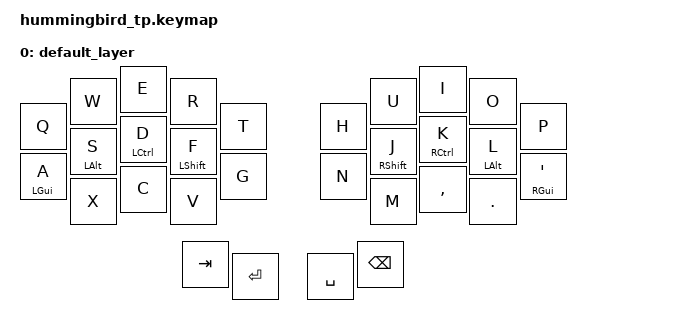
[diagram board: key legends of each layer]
/*
 * Copyright (c) 2022 The ZMK Contributors
 *
 * SPDX-License-Identifier: MIT
 */

#include <behaviors.dtsi>
#include <dt-bindings/zmk/keys.h>
#include <dt-bindings/zmk/bt.h>

#define DEF_L 0
#define NAV_L 1
#define NUM_L 2
#define SYM_L 3

/*
 * Defines to enable/disable features
 *
 * These defines allow us to conditionally enable and disable parts of the keymap config.
 *
 * For example, if we decide to build the firmware without the mouse features, we can
 * disable all the config options that rely on those forks and modules without having
 * to edit the entire keymap file manually every time.
 */

#define HAS_MOUSE_KEYS
#define HAS_MOUSE_TP

#ifdef HAS_MOUSE_KEYS
  #include <dt-bindings/zmk/mouse.h>
  #include <behaviors/mouse_keys.dtsi>
#endif  // HAS_MOUSE_KEYS

#ifdef HAS_MOUSE_TP
  // We store the trackpoint settings in a separate file
  // to make organization a little easier.
  #include "include/mouse_tp.dtsi"
#endif  // HAS_MOUSE_TP



// Using layer taps on thumbs, having quick tap as well helps w/ repeating space/backspace
&lt { quick-tap-ms = <200>; };

/ {
    behaviors {
        hm: homerow_mods {
            compatible = "zmk,behavior-hold-tap";
            #binding-cells = <2>;
            tapping-term-ms = <225>;
            flavor = "tap-preferred";
            bindings = <&kp>, <&kp>;
        };
    };

    combos {
        compatible = "zmk,combos";
        combo_z {
            timeout-ms = <50>;
            key-positions = <20 21>;
            bindings = <&kp Z>;
        };
        combo_b {
            timeout-ms = <50>;
            key-positions = <21 22>;
            bindings = <&kp B>;
        };

        combo_y {
            timeout-ms = <50>;
            key-positions = <23 24>;
            bindings = <&kp Y>;
        };

        combo_slash {
            timeout-ms = <50>;
            key-positions = <24 25>;
            bindings = <&kp SLASH>;
        };
    };

    keymap {
        compatible = "zmk,keymap";

        default_layer {
            bindings = <
                &kp Q      &kp W      &kp E       &kp R           &kp T        &kp H            &kp U          &kp I       &kp O      &kp P
                &hm LGUI A &hm LALT S &hm LCTRL D &hm LSHFT F     &kp G        &kp N            &hm RSHFT J    &hm RCTRL K &hm LALT L &hm RGUI SQT
                           &kp X      &kp C       &kp V                                         &kp M          &kp COMMA  &kp DOT
                                                  &kp TAB       &kp RET       &kp SPACE        &kp BSPC
            >;
        };
    };
};



/*
 * PS/2 Mouse / Trackpoint - User Configuration
 *
 * Enable PS/2 drivers on this side of the keyboard.
 * It MUST be the central half. If you connected your TP or mouse to the
 * left side, then move the following content to `your_keyboard_left.overlay`
 *
 * You also need to adjust `Kconfig.defconfig` and configure that this side
 * is the central side.
 *
 */


// Pick the PS/2 driver
//
// Comment out the following define to use the PS/2 GPIO driver instead of the
// UART driver.
//
// Both, the UART and GPIO drivers, implement the PS/2 protocol and work with
// trackpoints and other mouse devices that use PS/2.
//
// The only difference is which hardware they use on your controller to
// transmit the data. The UART driver has MUCH better performance and should
// be used by most people.
//
// The GPIO driver should only be used if your PS/2 pointing device uses a
// clock frequency rate that is not compatible with the UART baud rates. Or
// if you are NOT using a nrf52-based controller, such as the nice!nano,
// nice!nano clone or a seeduino xiao.
//
// In all other cases you should try using the UART driver first.
#define MOUSE_PS2_DRIVER_UART


// Configure the SCL and SDA pins using the`&pro_micro` notation.
//
// If possible, try to choose the blue high frequency pins to avoid
// bluetooth interference.
//
// It will still work even if you pick low frequency pins, but there is a risk
// that the trackpoint could cause bluetooth interference.
//
// On the nice!nano documentation these are green DX pins:
// https://nicekeyboards.com/docs/nice-nano/pinout-schematic
//
// The ideal pins are...
//   - D1 and D0 for clock and data, because they are high frequency.
//   - D8, D9, D16 or D10 for the trackpoint reset pin, because it doesn't
//     need to be high frequency (only needed if you are not using a reset
//     circuit)
//
// But on the corne keyboard, these pins are used for the backlight. So, this
// example config uses the pins D16 and D10 for clock and data and
// D9 for the reset circuit.
// #define MOUSE_PS2_PIN_SCL_PRO_MICRO <&pro_micro 16 GPIO_ACTIVE_HIGH>
#define MOUSE_PS2_PIN_SCL_PRO_MICRO <&xiao_d 5 GPIO_ACTIVE_HIGH>
#define MOUSE_PS2_PIN_SDA_PRO_MICRO <&xiao_d 4 GPIO_ACTIVE_HIGH>

// #define MOUSE_PS2_PIN_SDA_PRO_MICRO <&pro_micro 10 GPIO_ACTIVE_HIGH>


// Configure the Power-On-Reset pin
//
// Uncomment and configure this pin if you have an extra free pin and want the
// controller to perform the Power-On-Reset sequence, which many trackpoints
// require.
//
// You don't need this if you are not using a trackpoint or if you have a
// trackpoint reset circuit.
//
// It's ok to use a low-frequency pin for this.
// #define MOUSE_PS2_PIN_RST_PRO_MICRO <&pro_micro 9 GPIO_ACTIVE_HIGH>


// Configure SDA pin using the pinctrl notation
//
// Now configure SDA pin using the pinctrl notation. Make sure to use the same
// pin as in the pro micro notation, but convert it to the pinctrl notation.
//
// For the nice!nano you can find it on their pinout schematic, next to the
// pins, in the blue or violet boxes, with a format like `PX.YY` (P0.09).
//
// Enter it like `X, Y` without leading zeroes.
//
// Examples:
//      D1  - P0.06: 0, 6
// 		D0  - P0.08: 0, 8
//		D15 - P1.13: 1, 13
//		D16 - P0.10: 0, 10
//		D10 - P0.09: 0, 9
//
// We don't define the SCL pin, because UART uses a baud rate instead of
// a clock pin.
#define MOUSE_PS2_PIN_SDA_PINCTRL <NRF_PSEL(UART_RX, 0, 4)>

// Configure UART BAUD Rate
//
// TLDR WARNING:
// Most likely you won't need to adjust this. So leave it at the default value
// of 14,400 and test if your mouse or trackpoint works.
//
// If it doesn't work, try using the GPIO version of the driver. If it works
// with the GPIO driver, then try using the UART driver with the BAUD rates
// 19,200 and 9,600.
//
// So far, all the trackpoints, which the community tested, worked with the
// 14,400 rate.
//
// Explanation what this is:
//
// PS/2 uses a clock pin to syncronize data transmissions. UART on the
// other hand uses a pre-defined frequency (baud rate).
//
// Fortunately, one of the available baud rates is very close to the
// frequency used in IBM/Lenovo trackpoints.
//
// You can find other configurable baud rates here:
// https://docs.zephyrproject.org/latest/build/dts/api/bindings/serial/nordic,nrf-uarte.html
//
// You can also measure the frequency of your mouse/TP using a $5 logic
// analyzer from AliExpress.
//
// Actual frequency of PS/2 trackpoint: 67us
// Corresponding baud rate: 14,925
//
// Closest available baud rate in zephyr: 14,400
// Corresponding cycle length: 69.44 microseconds
//
// Calculations:
//
// Convert cycle length in microseconds into baud:
// 1 / PS2_CYCLE_LENGTH * 1000000 =  BAUD
// 1 / 67 * 1000000 = 14,925 BAUD
//
// Convert baud into cycle length:
// 1 / BAUD * 1000000 = CYCLE_LEN (in microseconds)
// 1 / 14400 * 1000000 = 69.44
//
// Most likely values
//
// The PS/2 protocol specifies that devices must use a clock line
// frequency in the range of 10 - 16.7 kHz.
//
// Most trackpoints seem to operate at around 14-15kHz.
//
// Therefore, the most likely values to try are:
//   - 14400 ( 69 us cycle length   /   14.5kHz)
//   -  9600 (100 us cycle length   /   10.0kHz)
//   - 19200 ( 52 us cycle length   /   19kHz)
#define MOUSE_PS2_UART_BAUD_RATE <14400>


/*
 * PS/2 Mouse / Trackpoint - User Configuration if NOT using nice!nano
 *
 * WARNING: Do NOT change this if you are using a nice!nano v2 or clone.
 */

// Unexposed UART pins
// In UART two different pins are used for receiving and transmitting, but PS/2
// uses the same pin for both.
//
// The UART config still requires both pins to be configured. So we use one of
// the nrf52 pins that are not exposed on the nice!nano board.
//
// Do NOT change these if you are using a nice!nano (or a clone of it)
#define MOUSE_PS2_PIN_UNEXPOSED_TX <NRF_PSEL(UART_TX, 0, 27)>
#define MOUSE_PS2_PIN_UNEXPOSED_RX <NRF_PSEL(UART_RX, 0, 28)>


// Adjust GPIO interrupt priority to the highest level.
//
// IMPORTANT TLDR:
// If you are using the nice_nano_v2 board, you don't need to make changes to
// the config below and can leave it as it is.
//
// Explanation of these settings:
//
// PS/2 events must be processed within 30-50us, but frequently bluetooth and
// other interrupts take longer to finish.
//
// Therefore we change the default GPIO priority to the highest level (0) and
// demote all BT interrupt priorities by one level using the kconfig settings:
// - CONFIG_BT_CTLR_LLL_PRIO 1
// - CONFIG_BT_CTLR_ULL_HIGH_PRIO 2
// - CONFIG_BT_CTLR_ULL_LOW_PRIOCONFIG 2
//
// These config options are enabled automatically by the PS2 UART and GPIO
// drivers... so you don't have to enable them manually.
//
// Then we lower the interrupt priority of all other devices by 2 levels using
// the devicetree config below.
//
// This allows the PS/2 interrupts to be triggered faster and reduces
// transmission errors.
//
// If you are using the nice_nano_v2 board, you can reuse my config below.
//
// Otherwise, you can generate the interrupt overrides using this script:
// https://github.com/infused-kim/kb_zmk_ps2_mouse_trackpoint_driver/blob/main/scripts/gen_interrupt_priority_overrides.py
//
// Make sure to do it on a zephyr.dts where the interrupts have not been
// adjusted yet (i.e. a config that doesn't have the the following options
// enabled).
//
// If you are building using a toolchain you can find the zephyr.dts in the
// build directory, which by default is: `app/build/zephyr/zephyr.dts`
//
// If you are building using the github actions, copy the output of the build
// step `xxxx_right - nice_nano_v2 Devicetree file` into a file and run the
// script on it.

// gpiote should have the highest interrupt priority (0)
&gpiote {
    interrupts = < 6 0 >;
};

// All other priorities should be two levels lower than their defaults
// (which is usually 1 and should be demoted to 3)


&gpiote {
    interrupts = < 6 0 >;
};
    
&clock {
    interrupts = < 0 3 >;
};
    
&power {
    interrupts = < 0 3 >;
};
    
&radio {
    interrupts = < 1 3 >;
};
    
&uart0 {
    interrupts = < 2 3 >;
};
    
&i2c0 {
    interrupts = < 3 3 >;
};
    
&spi0 {
    interrupts = < 3 3 >;
};
    
&i2c1 {
    interrupts = < 4 3 >;
};
    
&spi1 {
    interrupts = < 4 3 >;
};
    
&nfct {
    interrupts = < 5 3 >;
};
    
&adc {
    interrupts = < 7 3 >;
};
    
&timer0 {
    interrupts = < 8 3 >;
};
    
&timer1 {
    interrupts = < 9 3 >;
};
    
&timer2 {
    interrupts = < 10 3 >;
};
    
&rtc0 {
    interrupts = < 11 3 >;
};
    
&temp {
    interrupts = < 12 3 >;
};
    
&rng {
    interrupts = < 13 3 >;
};
    
&ecb {
    interrupts = < 14 3 >;
};
    
&ccm {
    interrupts = < 15 3 >;
};
    
&wdt {
    interrupts = < 16 3 >;
};
    
&rtc1 {
    interrupts = < 17 3 >;
};
    
&qdec {
    interrupts = < 18 3 >;
};
    
&comp {
    interrupts = < 19 3 >;
};
    
&egu0 {
    interrupts = < 20 3 >;
};
    
&egu1 {
    interrupts = < 21 3 >;
};
    
&egu2 {
    interrupts = < 22 3 >;
};
    
&egu3 {
    interrupts = < 23 3 >;
};
    
&egu4 {
    interrupts = < 24 3 >;
};
    
&egu5 {
    interrupts = < 25 3 >;
};
    
&timer3 {
    interrupts = < 26 3 >;
};
    
&timer4 {
    interrupts = < 27 3 >;
};
    
&pwm0 {
    interrupts = < 28 3 >;
};
    
&pdm0 {
    interrupts = < 29 3 >;
};
    
&pwm1 {
    interrupts = < 33 3 >;
};
    
&pwm2 {
    interrupts = < 34 3 >;
};
    
&spi2 {
    interrupts = < 35 3 >;
};
    
&rtc2 {
    interrupts = < 36 3 >;
};
    
&i2s0 {
    interrupts = < 37 3 >;
};
    
&usbd {
    interrupts = < 39 3 >;
};
    
&uart1 {
    interrupts = < 40 3 >;
};
    
&qspi {
    interrupts = < 41 3 >;
};
    
&pwm3 {
    interrupts = < 45 3 >;
};
    
&spi3 {
    interrupts = < 47 3 >;
};
    
&cryptocell {
    interrupts = < 42 3 >;
};
    


/*
 * PS/2 Mouse / Trackpoint - Device Definitions
 *
 * WARNING: Do not change anything beyond here unless you know what you are
 *          doing.
 */


// This define can be used in the keymap file to check whether the device tree
// configs in this file are present to void build errors on the side that does
// not have the mouse or TP
#define MOUSE_PS2_DT_PRESENT

&pinctrl {
	// This pinctrl state is used for receiving
	// For `UART_TX`, set an unused and unexposed pin
	// For `UART_RX`, set the PS/2 SDA pin number
	uart0_ps2_default: uart0_ps2_default {
		group1 {
			psels = MOUSE_PS2_PIN_UNEXPOSED_TX,
					MOUSE_PS2_PIN_SDA_PINCTRL;
		};
	};

	// Set this to the same pins as uart0_ps2_default
	uart0_ps2_sleep: uart0_ps2_sleep {
		group1 {
			psels = MOUSE_PS2_PIN_UNEXPOSED_TX,
					MOUSE_PS2_PIN_SDA_PINCTRL;
			low-power-enable;
		};
	};

	// The nrf52 UART controller is not compatible with the PS/2
	// transmission frame. So the PS/2 UART driver doesn't use UART for
	// transmissions and instead use GPIO bit-banging.
	//
	// When the driver switches to transmit mode, it frees up the SDA pin by
    // switching the UART controller to unexposed/unused pins.
	//
	// Then it configures the GPIO controller to use the SCL and SDA pins
	uart0_ps2_off: uart0_ps2_off {
		group1 {
			psels = MOUSE_PS2_PIN_UNEXPOSED_TX,
					MOUSE_PS2_PIN_UNEXPOSED_RX;
		};
	};
};


#ifdef MOUSE_PS2_DRIVER_UART

    &uart0 {
        status = "disabled";
        compatible = "nordic,nrf-uarte";

        current-speed = MOUSE_PS2_UART_BAUD_RATE;
        pinctrl-0 = <&uart0_ps2_default>;
        pinctrl-1 = <&uart0_ps2_off>;

        pinctrl-names = "default", "sleep";

        uart_ps2: uart_ps2 {
            status="disabled";
            compatible = "uart-ps2";
            scl-gpios = MOUSE_PS2_PIN_SCL_PRO_MICRO;
            sda-gpios = MOUSE_PS2_PIN_SDA_PRO_MICRO;
        };
    };

#else

    / {
        gpio_ps2: gpio_ps2 {
            status = "disabled";

            compatible = "gpio-ps2";
            scl-gpios = MOUSE_PS2_PIN_SCL_PRO_MICRO;
            sda-gpios = MOUSE_PS2_PIN_SDA_PRO_MICRO;
        };
    };

#endif


/ {
    mouse_ps2: mouse_ps2 {
		status = "disabled";
        compatible = "zmk,input-mouse-ps2";

#ifdef MOUSE_PS2_DRIVER_UART
	    ps2-device = <&uart_ps2>;
#else
	    ps2-device = <&gpio_ps2>;
#endif

#ifdef MOUSE_PS2_PIN_RST_PRO_MICRO
        rst-gpios = MOUSE_PS2_PIN_RST_PRO_MICRO;
#endif
    };

    mouse_ps2_input_listener: mouse_ps2_input_listener {
        compatible = "zmk,input-listener-ps2";
        status = "disabled";

        device = <&mouse_ps2>;

		// Some of the available settings depend on the keymap. So they
		// are adjusted in...
		// zmk-config/config/includes/mouse_tp.dtsi
    };
};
